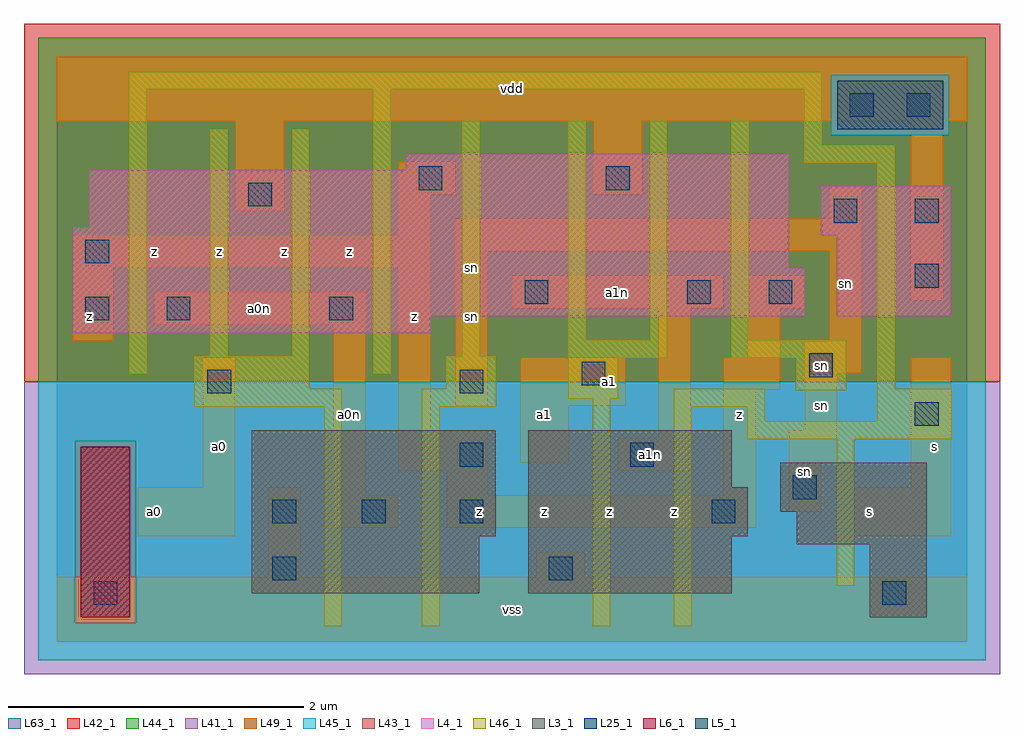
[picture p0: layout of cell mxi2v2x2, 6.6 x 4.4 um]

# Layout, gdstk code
import gdstk
lib = gdstk.Library(unit=1e-6, precision=1e-09)
def R(c, l, rs):  # rectangles x0, y0, x1, y1
    for r in rs: c.add(gdstk.rectangle(r[:2], r[2:], *l))
def A(c, l, x, y, w, h, nx, ny, dx, dy):  # array of equal rectangles
    R(c, l, [(x+i*dx, y+j*dy, x+i*dx+w, y+j*dy+h) for i in range(nx) for j in range(ny)])
L3_1 = (3, 1)
L4_1 = (4, 1)
L5_1 = (5, 1)
L6_1 = (6, 1)
L25_1 = (25, 1)
L41_1 = (41, 1)
L42_1 = (42, 1)
L43_1 = (43, 1)
L44_1 = (44, 1)
L45_1 = (45, 1)
L46_1 = (46, 1)
L49_1 = (49, 1)
L63_1 = (63, 1)

mxi2v2x2 = lib.new_cell('mxi2v2x2')
R(mxi2v2x2, L3_1, [(5.5,0.165,5.885,0.66), (1.32,0.33,2.86,0.715), (3.19,0.33,4.565,0.715), (5.005,0.66,5.885,0.88), (1.32,0.715,2.97,1.43), (3.19,0.715,4.675,1.045), (4.895,0.88,5.885,1.21), (3.19,1.045,4.565,1.43)])
R(mxi2v2x2, L4_1, [(0.11,2.09,2.53,2.2), (0.11,2.2,5.06,2.53), (5.28,2.2,6.05,2.75), (0.11,2.53,4.95,2.805), (5.17,2.75,6.05,3.08), (0.22,2.805,4.95,3.19), (2.365,3.19,4.95,3.3)])
R(mxi2v2x2, L5_1, [(5.28,3.465,5.995,3.795)])
R(mxi2v2x2, L6_1, [(0.165,0.165,0.495,1.32)])
R(mxi2v2x2, L25_1, [(0.25,0.25,0.41,0.41), (5.585,0.25,5.745,0.41), (1.46,0.415,1.62,0.575), (3.33,0.415,3.49,0.575), (1.46,0.8,1.62,0.96), (2.065,0.8,2.225,0.96), (2.725,0.8,2.885,0.96), (4.43,0.8,4.59,0.96), (4.98,0.965,5.14,1.125), (2.725,1.185,2.885,1.345), (3.88,1.185,4.04,1.345), (5.805,1.46,5.965,1.62), (1.02,1.68,1.18,1.84), (2.725,1.68,2.885,1.84), (3.55,1.735,3.71,1.895), (5.09,1.79,5.25,1.95), (0.195,2.175,0.355,2.335), (0.745,2.175,0.905,2.335), (1.845,2.175,2.005,2.335), (3.165,2.285,3.325,2.445), (4.265,2.285,4.425,2.445), (4.815,2.285,4.975,2.445), (5.805,2.395,5.965,2.555), (0.195,2.56,0.355,2.72), (5.255,2.835,5.415,2.995), (5.805,2.835,5.965,2.995), (1.295,2.945,1.455,3.105), (2.45,3.055,2.61,3.215), (3.715,3.055,3.875,3.215), (5.365,3.55,5.525,3.71), (5.75,3.55,5.91,3.71)])
R(mxi2v2x2, L41_1, [(-0.22,-0.22,6.38,1.76)])
R(mxi2v2x2, L42_1, [(-0.22,1.76,6.38,4.18)])
R(mxi2v2x2, L43_1, [(0.165,0.165,0.495,1.32), (5.5,0.165,5.885,0.66), (1.32,0.33,2.86,0.715), (3.19,0.33,4.565,0.715), (5.005,0.66,5.885,0.88), (1.32,0.715,2.97,1.43), (3.19,0.715,4.675,1.045), (4.895,0.88,5.885,1.21), (3.19,1.045,4.565,1.43), (0.11,2.09,2.53,2.2), (0.11,2.2,5.06,2.53), (5.28,2.2,6.05,2.75), (0.11,2.53,4.95,2.805), (5.17,2.75,6.05,3.08), (0.22,2.805,4.95,3.19), (2.365,3.19,4.95,3.3), (5.28,3.465,5.995,3.795)])
R(mxi2v2x2, L44_1, [(0.125,0.125,0.535,1.36), (-0.125,1.76,6.285,3.425), (-0.125,3.425,5.24,3.835), (6.035,3.425,6.285,3.835), (-0.125,3.835,6.285,4.085)])
R(mxi2v2x2, L45_1, [(-0.125,-0.125,6.285,0.125), (-0.125,0.125,0.125,1.36), (0.535,0.125,6.285,1.36), (-0.125,1.36,6.285,1.76), (5.24,3.425,6.035,3.835)])
A(mxi2v2x2, L46_1, 3.46, 2.04, 0.12, 1.485, 3, 1, 0.55, 0)
R(mxi2v2x2, L46_1, [(1.81,0.105,1.93,1.59), (2.47,0.105,2.59,1.59), (3.625,0.105,3.745,1.645), (4.175,0.105,4.295,1.59), (5.275,0.38,5.395,1.37), (4.67,1.37,6.055,1.49), (4.67,1.49,4.79,1.59), (5.55,1.49,6.055,1.71), (0.93,1.59,1.93,1.71), (2.47,1.59,2.975,1.71), (4.175,1.59,4.79,1.71), (3.46,1.645,3.8,1.92), (5,1.7,5.34,1.92), (0.93,1.71,1.71,1.93), (2.635,1.71,2.975,1.93), (5.55,1.71,5.67,3.24), (0.49,1.81,0.61,3.735), (2.14,1.81,2.26,3.735), (3.46,1.92,4.13,2.04), (4.56,1.92,5.34,2.04), (1.04,1.93,1.16,3.47), (1.59,1.93,1.71,3.47), (2.745,1.93,2.865,3.525), (5.055,3.24,5.67,3.36), (5.055,3.36,5.175,3.735), (0.49,3.735,5.175,3.855)])
R(mxi2v2x2, L49_1, [(0,0,6.16,0.44), (1.43,0.44,1.65,1.045), (3.245,0.44,3.575,0.605), (0.55,0.715,1.21,1.045), (5.39,0.715,6.05,1.045), (1.87,0.77,2.31,0.99), (2.64,0.77,4.73,0.99), (4.95,0.88,5.17,1.21), (1.87,0.99,2.09,2.145), (2.64,0.99,2.915,1.155), (4.51,0.99,4.73,1.705), (0.99,1.045,1.21,1.925), (5.775,1.045,6.05,1.925), (2.31,1.155,2.915,1.43), (3.795,1.155,4.29,1.375), (3.135,1.21,3.465,1.595), (4.95,1.21,5.28,1.43), (4.07,1.375,4.29,2.255), (2.31,1.43,2.53,2.53), (5.06,1.43,5.28,1.815), (2.695,1.595,2.915,2.64), (3.135,1.595,3.85,1.925), (4.51,1.705,4.895,1.925), (5.06,1.815,5.445,2.035), (4.675,1.925,4.895,2.255), (0.11,2.035,0.385,2.53), (5.225,2.035,5.445,2.64), (0.66,2.145,2.09,2.365), (3.08,2.255,4.51,2.475), (4.675,2.255,5.06,2.475), (5.775,2.31,5.995,3.52), (0.11,2.53,2.53,2.75), (2.695,2.64,5.445,2.86), (2.31,2.75,2.53,3.025), (5.225,2.86,5.445,3.08), (1.21,2.915,1.54,3.52), (2.31,3.025,2.695,3.245), (3.63,3.025,3.96,3.52), (0,3.52,6.16,3.96)])
R(mxi2v2x2, L63_1, [(0,0,6.16,3.96)])
mxi2v2x2.add(gdstk.Label('sn', (2.805,2.53), layer=46, texttype=1))
mxi2v2x2.add(gdstk.Label('sn', (5.17,1.87), layer=49, texttype=1))
mxi2v2x2.add(gdstk.Label('a0', (0.66,0.88), layer=49, texttype=1))
mxi2v2x2.add(gdstk.Label('z', (0.22,2.2), layer=49, texttype=1))
mxi2v2x2.add(gdstk.Label('z', (0.66,2.64), layer=49, texttype=1))
mxi2v2x2.add(gdstk.Label('a0', (1.1,1.32), layer=49, texttype=1))
mxi2v2x2.add(gdstk.Label('a0n', (1.375,2.255), layer=49, texttype=1))
mxi2v2x2.add(gdstk.Label('a0n', (1.98,1.54), layer=49, texttype=1))
mxi2v2x2.add(gdstk.Label('z', (1.1,2.64), layer=49, texttype=1))
mxi2v2x2.add(gdstk.Label('z', (1.54,2.64), layer=49, texttype=1))
mxi2v2x2.add(gdstk.Label('z', (1.98,2.64), layer=49, texttype=1))
mxi2v2x2.add(gdstk.Label('vss', (3.08,0.22), layer=49, texttype=1))
mxi2v2x2.add(gdstk.Label('z', (3.3,0.88), layer=49, texttype=1))
mxi2v2x2.add(gdstk.Label('z', (2.86,0.88), layer=49, texttype=1))
mxi2v2x2.add(gdstk.Label('a1', (3.3,1.54), layer=49, texttype=1))
mxi2v2x2.add(gdstk.Label('z', (2.42,2.2), layer=49, texttype=1))
mxi2v2x2.add(gdstk.Label('sn', (2.805,2.2), layer=49, texttype=1))
mxi2v2x2.add(gdstk.Label('vdd', (3.08,3.74), layer=49, texttype=1))
mxi2v2x2.add(gdstk.Label('z', (4.18,0.88), layer=49, texttype=1))
mxi2v2x2.add(gdstk.Label('z', (3.74,0.88), layer=49, texttype=1))
mxi2v2x2.add(gdstk.Label('a1n', (4.015,1.265), layer=49, texttype=1))
mxi2v2x2.add(gdstk.Label('z', (4.62,1.54), layer=49, texttype=1))
mxi2v2x2.add(gdstk.Label('a1', (3.74,1.76), layer=49, texttype=1))
mxi2v2x2.add(gdstk.Label('a1n', (3.795,2.365), layer=49, texttype=1))
mxi2v2x2.add(gdstk.Label('s', (5.5,0.88), layer=49, texttype=1))
mxi2v2x2.add(gdstk.Label('sn', (5.06,1.155), layer=49, texttype=1))
mxi2v2x2.add(gdstk.Label('s', (5.94,1.32), layer=49, texttype=1))
mxi2v2x2.add(gdstk.Label('sn', (5.17,1.595), layer=49, texttype=1))
mxi2v2x2.add(gdstk.Label('sn', (5.335,2.42), layer=49, texttype=1))

lib.write_gds('mxi2v2x2.gds')
